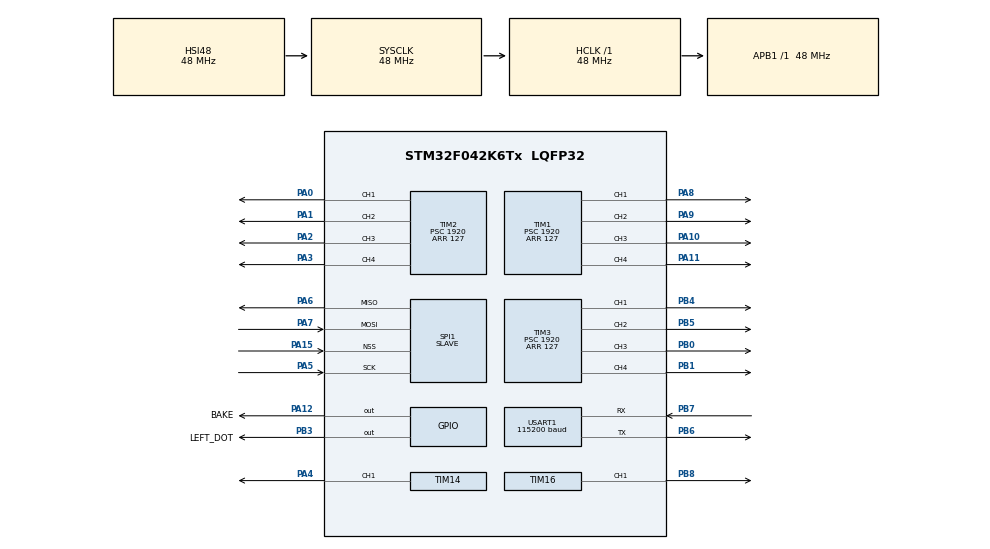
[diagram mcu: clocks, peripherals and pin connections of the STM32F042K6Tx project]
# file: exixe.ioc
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Dma.Request0=SPI1_RX
Dma.SPI1_RX.0.Direction=DMA_PERIPH_TO_MEMORY
Dma.SPI1_RX.0.Instance=DMA1_Channel2
Dma.SPI1_RX.0.MemDataAlignment=DMA_MDATAALIGN_BYTE
Dma.SPI1_RX.0.MemInc=DMA_MINC_ENABLE
Dma.SPI1_RX.0.Mode=DMA_NORMAL
Dma.SPI1_RX.0.PeriphDataAlignment=DMA_PDATAALIGN_BYTE
Dma.SPI1_RX.0.PeriphInc=DMA_PINC_DISABLE
Dma.SPI1_RX.0.Priority=DMA_PRIORITY_HIGH
IWDG.Prescaler=IWDG_PRESCALER_4
Mcu.Family=STM32F0
Mcu.Name=STM32F042K6Tx
Mcu.Package=LQFP32
NVIC.DMA1_Channel2_3_IRQn=true\:0\:0\:false\:false\:true
PA0.Signal=S_TIM2_CH1_ETR
PA1.Signal=S_TIM2_CH2
PA10.Signal=S_TIM1_CH3
PA11.Signal=S_TIM1_CH4
PA12.GPIO_Label=BAKE
PA12.Signal=GPIO_Output
PA13.Mode=Serial_Wire
PA13.Signal=SYS_SWDIO
PA14.Mode=Serial_Wire
PA14.Signal=SYS_SWCLK
PA15.Mode=NSS_Signal_Hard_Input
PA15.Signal=SPI1_NSS
PA2.Signal=S_TIM2_CH3
PA3.Signal=S_TIM2_CH4
PA4.Signal=S_TIM14_CH1
PA5.Mode=Full_Duplex_Slave
PA5.Signal=SPI1_SCK
PA6.Mode=Full_Duplex_Slave
PA6.Signal=SPI1_MISO
PA7.Mode=Full_Duplex_Slave
PA7.Signal=SPI1_MOSI
PA8.Signal=S_TIM1_CH1
PA9.Signal=S_TIM1_CH2
PB0.Signal=S_TIM3_CH3
PB1.Signal=S_TIM3_CH4
PB3.GPIO_Label=LEFT_DOT
PB3.Signal=GPIO_Output
PB4.Signal=S_TIM3_CH1
PB5.Signal=S_TIM3_CH2
PB6.Mode=Asynchronous
PB6.Signal=USART1_TX
PB7.Mode=Asynchronous
PB7.Signal=USART1_RX
PB8.Signal=S_TIM16_CH1
ProjectManager.HeapSize=0x200
ProjectManager.StackSize=0x400
ProjectManager.TargetToolchain=MDK-ARM V5
RCC.AHBFreq_Value=48000000
RCC.APB1Freq_Value=48000000
RCC.APB1TimFreq_Value=48000000
RCC.HCLKFreq_Value=48000000
RCC.I2c1ClockSelection=RCC_I2C1CLKSOURCE_SYSCLK
RCC.SYSCLKFreq_VALUE=48000000
RCC.SYSCLKSource=RCC_SYSCLKSOURCE_HSI48
RCC.Usart1ClockSelection=RCC_USART1CLKSOURCE_SYSCLK
SH.S_TIM14_CH1.0=TIM14_CH1,PWM Generation1 CH1
SH.S_TIM16_CH1.0=TIM16_CH1,PWM Generation1 CH1
SH.S_TIM1_CH1.0=TIM1_CH1,PWM Generation1 CH1
SH.S_TIM1_CH2.0=TIM1_CH2,PWM Generation2 CH2
SH.S_TIM1_CH3.0=TIM1_CH3,PWM Generation3 CH3
SH.S_TIM1_CH4.0=TIM1_CH4,PWM Generation4 CH4
SH.S_TIM2_CH1_ETR.0=TIM2_CH1,PWM Generation1 CH1
SH.S_TIM2_CH2.0=TIM2_CH2,PWM Generation2 CH2
SH.S_TIM2_CH3.0=TIM2_CH3,PWM Generation3 CH3
SH.S_TIM2_CH4.0=TIM2_CH4,PWM Generation4 CH4
SH.S_TIM3_CH1.0=TIM3_CH1,PWM Generation1 CH1
SH.S_TIM3_CH2.0=TIM3_CH2,PWM Generation2 CH2
SH.S_TIM3_CH3.0=TIM3_CH3,PWM Generation3 CH3
SH.S_TIM3_CH4.0=TIM3_CH4,PWM Generation4 CH4
SPI1.DataSize=SPI_DATASIZE_8BIT
SPI1.Direction=SPI_DIRECTION_2LINES
SPI1.Mode=SPI_MODE_SLAVE
SPI1.VirtualNSS=VM_NSSHARD
SPI1.VirtualType=VM_SLAVE
TIM1.Channel-PWM\ Generation1\ CH1=TIM_CHANNEL_1
TIM1.Channel-PWM\ Generation2\ CH2=TIM_CHANNEL_2
TIM1.Channel-PWM\ Generation3\ CH3=TIM_CHANNEL_3
TIM1.Channel-PWM\ Generation4\ CH4=TIM_CHANNEL_4
TIM1.Period=127
TIM1.Prescaler=1920
TIM1.Pulse-PWM\ Generation1\ CH1=0
TIM1.Pulse-PWM\ Generation2\ CH2=0
TIM1.Pulse-PWM\ Generation3\ CH3=0
TIM1.Pulse-PWM\ Generation4\ CH4=0
TIM14.Channel=TIM_CHANNEL_1
TIM14.Period=127
TIM14.Prescaler=1920
TIM14.Pulse=127
TIM16.Channel=TIM_CHANNEL_1
TIM16.Period=127
TIM16.Prescaler=1920
TIM16.Pulse=0
TIM17.Period=65535
TIM17.Prescaler=1920
TIM2.Channel-PWM\ Generation1\ CH1=TIM_CHANNEL_1
TIM2.Channel-PWM\ Generation2\ CH2=TIM_CHANNEL_2
TIM2.Channel-PWM\ Generation3\ CH3=TIM_CHANNEL_3
TIM2.Channel-PWM\ Generation4\ CH4=TIM_CHANNEL_4
TIM2.Period=127
TIM2.Prescaler=1920
TIM2.Pulse-PWM\ Generation1\ CH1=0
TIM2.Pulse-PWM\ Generation2\ CH2=0
TIM2.Pulse-PWM\ Generation3\ CH3=0
TIM2.Pulse-PWM\ Generation4\ CH4=0
TIM3.Channel-PWM\ Generation1\ CH1=TIM_CHANNEL_1
TIM3.Channel-PWM\ Generation2\ CH2=TIM_CHANNEL_2
TIM3.Channel-PWM\ Generation3\ CH3=TIM_CHANNEL_3
TIM3.Channel-PWM\ Generation4\ CH4=TIM_CHANNEL_4
TIM3.Period=127
TIM3.Prescaler=1920
TIM3.Pulse-PWM\ Generation1\ CH1=0
TIM3.Pulse-PWM\ Generation2\ CH2=0
TIM3.Pulse-PWM\ Generation3\ CH3=127
TIM3.Pulse-PWM\ Generation4\ CH4=127
USART1.BaudRate=115200
USART1.VirtualMode-Asynchronous=VM_ASYNC
USART1.WordLength=WORDLENGTH_8B
VP_IWDG_VS_IWDG.Mode=IWDG_Activate
VP_TIM14_VS_ClockSourceINT.Mode=Enable_Timer
VP_TIM16_VS_ClockSourceINT.Mode=Enable_Timer
VP_TIM17_VS_ClockSourceINT.Mode=Enable_Timer
VP_TIM1_VS_ClockSourceINT.Mode=Internal
VP_TIM2_VS_ClockSourceINT.Mode=Internal
VP_TIM3_VS_ClockSourceINT.Mode=Internal
board=exixe

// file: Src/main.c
/**
  ******************************************************************************
  * File Name          : main.c
  * Description        : Main program body
  ******************************************************************************
  *
  * COPYRIGHT(c) 2017 STMicroelectronics
  *
  * Redistribution and use in source and binary forms, with or without modification,
  * are permitted provided that the following conditions are met:
  *   1. Redistributions of source code must retain the above copyright notice,
  *      this list of conditions and the following disclaimer.
  *   2. Redistributions in binary form must reproduce the above copyright notice,
  *      this list of conditions and the following disclaimer in the documentation
  *      and/or other materials provided with the distribution.
  *   3. Neither the name of STMicroelectronics nor the names of its contributors
  *      may be used to endorse or promote products derived from this software
  *      without specific prior written permission.
  *
  * THIS SOFTWARE IS PROVIDED BY THE COPYRIGHT HOLDERS AND CONTRIBUTORS "AS IS"
  * AND ANY EXPRESS OR IMPLIED WARRANTIES, INCLUDING, BUT NOT LIMITED TO, THE
  * IMPLIED WARRANTIES OF MERCHANTABILITY AND FITNESS FOR A PARTICULAR PURPOSE ARE
  * DISCLAIMED. IN NO EVENT SHALL THE COPYRIGHT HOLDER OR CONTRIBUTORS BE LIABLE
  * FOR ANY DIRECT, INDIRECT, INCIDENTAL, SPECIAL, EXEMPLARY, OR CONSEQUENTIAL
  * DAMAGES (INCLUDING, BUT NOT LIMITED TO, PROCUREMENT OF SUBSTITUTE GOODS OR
  * SERVICES; LOSS OF USE, DATA, OR PROFITS; OR BUSINESS INTERRUPTION) HOWEVER
  * CAUSED AND ON ANY THEORY OF LIABILITY, WHETHER IN CONTRACT, STRICT LIABILITY,
  * OR TORT (INCLUDING NEGLIGENCE OR OTHERWISE) ARISING IN ANY WAY OUT OF THE USE
  * OF THIS SOFTWARE, EVEN IF ADVISED OF THE POSSIBILITY OF SUCH DAMAGE.
  *
  ******************************************************************************
  */
#include "main.h"
#include "stm32f0xx_hal.h"

/* USER CODE BEGIN Includes */
#include "shared.h"
#include "helpers.h"
#include "delay_us.h"

/* USER CODE END Includes */

IWDG_HandleTypeDef hiwdg;

SPI_HandleTypeDef hspi1;
DMA_HandleTypeDef hdma_spi1_rx;

TIM_HandleTypeDef htim1;
TIM_HandleTypeDef htim2;
TIM_HandleTypeDef htim3;
TIM_HandleTypeDef htim14;
TIM_HandleTypeDef htim16;
TIM_HandleTypeDef htim17;

UART_HandleTypeDef huart1;

/* USER CODE BEGIN PV */
/* Private variables ---------------------------------------------------------*/

/* USER CODE END PV */

void SystemClock_Config(void);
void Error_Handler(void);
static void MX_GPIO_Init(void);
static void MX_DMA_Init(void);
static void MX_USART1_UART_Init(void);
static void MX_SPI1_Init(void);
static void MX_TIM14_Init(void);
static void MX_TIM3_Init(void);
static void MX_TIM16_Init(void);
static void MX_TIM1_Init(void);
static void MX_TIM2_Init(void);
static void MX_TIM17_Init(void);
static void MX_IWDG_Init(void);

void HAL_TIM_MspPostInit(TIM_HandleTypeDef *htim);

/* USER CODE BEGIN PFP */
/* Private function prototypes -----------------------------------------------*/
/* USER CODE END PFP */

/* USER CODE BEGIN 0 */
int fputc(int ch, FILE *f)
{
    HAL_UART_Transmit(&huart1, (unsigned char *)&ch, 1, 100);
    return ch;
}

void kick_dog(void)
{
  static int32_t next_kick = 0;
  if(HAL_GetTick() > next_kick)
  {
    HAL_IWDG_Refresh(&hiwdg);
    next_kick = HAL_GetTick() + 100;
  }
}
/* USER CODE END 0 */

int main(void)
{

  /* MCU Configuration----------------------------------------------------------*/

  /* Reset of all peripherals, Initializes the Flash interface and the Systick. */
  HAL_Init();

  /* Configure the system clock */
  SystemClock_Config();

  /* Initialize all configured peripherals */
  MX_GPIO_Init();
  MX_DMA_Init();
  MX_USART1_UART_Init();
  MX_SPI1_Init();
  MX_TIM14_Init();
  MX_TIM3_Init();
  MX_TIM16_Init();
  MX_TIM1_Init();
  MX_TIM2_Init();
  MX_TIM17_Init();
  MX_IWDG_Init();

  /* Infinite loop */
  /* USER CODE BEGIN WHILE */
  delay_us_init(&htim17);
  timer_init();
  HAL_GPIO_WritePin(BAKE_GPIO_Port, BAKE_Pin, GPIO_PIN_SET);
  while (1)
  {
    kick_dog();
    if(HAL_GPIO_ReadPin(GPIOA, GPIO_PIN_15) == GPIO_PIN_SET)
      HAL_SPI_Receive_DMA(&hspi1, spi_recv_buf, SPI_BUF_SIZE);
  /* USER CODE END WHILE */

  /* USER CODE BEGIN 3 */
    if(pwm_stats[11] == 0)
    {
      HAL_GPIO_WritePin(LEFT_DOT_GPIO_Port, LEFT_DOT_Pin, GPIO_PIN_RESET);
      continue;
    }
    else if(pwm_stats[11] >= 125)
    {
      HAL_GPIO_WritePin(LEFT_DOT_GPIO_Port, LEFT_DOT_Pin, GPIO_PIN_SET);
      continue;
    }
    else
    {
      HAL_GPIO_WritePin(LEFT_DOT_GPIO_Port, LEFT_DOT_Pin, GPIO_PIN_SET);
      delay_us(pwm_stats[11]); // delay_us here is actually delay_40us
      HAL_GPIO_WritePin(LEFT_DOT_GPIO_Port, LEFT_DOT_Pin, GPIO_PIN_RESET);
      delay_us(125 - pwm_stats[11]);
    }
  }
  /* USER CODE END 3 */

}

/** System Clock Configuration
*/
void SystemClock_Config(void)
{

  RCC_OscInitTypeDef RCC_OscInitStruct;
  RCC_ClkInitTypeDef RCC_ClkInitStruct;
  RCC_PeriphCLKInitTypeDef PeriphClkInit;

    /**Initializes the CPU, AHB and APB busses clocks
    */
  RCC_OscInitStruct.OscillatorType = RCC_OSCILLATORTYPE_HSI48|RCC_OSCILLATORTYPE_LSI;
  RCC_OscInitStruct.HSI48State = RCC_HSI48_ON;
  RCC_OscInitStruct.LSIState = RCC_LSI_ON;
  RCC_OscInitStruct.PLL.PLLState = RCC_PLL_NONE;
  if (HAL_RCC_OscConfig(&RCC_OscInitStruct) != HAL_OK)
  {
    Error_Handler();
  }

    /**Initializes the CPU, AHB and APB busses clocks
    */
  RCC_ClkInitStruct.ClockType = RCC_CLOCKTYPE_HCLK|RCC_CLOCKTYPE_SYSCLK
                              |RCC_CLOCKTYPE_PCLK1;
  RCC_ClkInitStruct.SYSCLKSource = RCC_SYSCLKSOURCE_HSI48;
  RCC_ClkInitStruct.AHBCLKDivider = RCC_SYSCLK_DIV1;
  RCC_ClkInitStruct.APB1CLKDivider = RCC_HCLK_DIV1;

  if (HAL_RCC_ClockConfig(&RCC_ClkInitStruct, FLASH_LATENCY_1) != HAL_OK)
  {
    Error_Handler();
  }

  PeriphClkInit.PeriphClockSelection = RCC_PERIPHCLK_USART1;
  PeriphClkInit.Usart1ClockSelection = RCC_USART1CLKSOURCE_SYSCLK;
  if (HAL_RCCEx_PeriphCLKConfig(&PeriphClkInit) != HAL_OK)
  {
    Error_Handler();
  }

    /**Configure the Systick interrupt time
    */
  HAL_SYSTICK_Config(HAL_RCC_GetHCLKFreq()/1000);

    /**Configure the Systick
    */
  HAL_SYSTICK_CLKSourceConfig(SYSTICK_CLKSOURCE_HCLK);

  /* SysTick_IRQn interrupt configuration */
  HAL_NVIC_SetPriority(SysTick_IRQn, 0, 0);
}

/* IWDG init function */
static void MX_IWDG_Init(void)
{

  hiwdg.Instance = IWDG;
  hiwdg.Init.Prescaler = IWDG_PRESCALER_4;
  hiwdg.Init.Window = 4095;
  hiwdg.Init.Reload = 4095;
  if (HAL_IWDG_Init(&hiwdg) != HAL_OK)
  {
    Error_Handler();
  }

}

/* SPI1 init function */
static void MX_SPI1_Init(void)
{

  hspi1.Instance = SPI1;
  hspi1.Init.Mode = SPI_MODE_SLAVE;
  hspi1.Init.Direction = SPI_DIRECTION_2LINES;
  hspi1.Init.DataSize = SPI_DATASIZE_8BIT;
  hspi1.Init.CLKPolarity = SPI_POLARITY_LOW;
  hspi1.Init.CLKPhase = SPI_PHASE_1EDGE;
  hspi1.Init.NSS = SPI_NSS_HARD_INPUT;
  hspi1.Init.FirstBit = SPI_FIRSTBIT_MSB;
  hspi1.Init.TIMode = SPI_TIMODE_DISABLE;
  hspi1.Init.CRCCalculation = SPI_CRCCALCULATION_DISABLE;
  hspi1.Init.CRCPolynomial = 7;
  hspi1.Init.CRCLength = SPI_CRC_LENGTH_DATASIZE;
  hspi1.Init.NSSPMode = SPI_NSS_PULSE_DISABLE;
  if (HAL_SPI_Init(&hspi1) != HAL_OK)
  {
    Error_Handler();
  }

}

/* TIM1 init function */
static void MX_TIM1_Init(void)
{

  TIM_ClockConfigTypeDef sClockSourceConfig;
  TIM_MasterConfigTypeDef sMasterConfig;
  TIM_OC_InitTypeDef sConfigOC;
  TIM_BreakDeadTimeConfigTypeDef sBreakDeadTimeConfig;

  htim1.Instance = TIM1;
  htim1.Init.Prescaler = 1920;
  htim1.Init.CounterMode = TIM_COUNTERMODE_UP;
  htim1.Init.Period = 127;
  htim1.Init.ClockDivision = TIM_CLOCKDIVISION_DIV1;
  htim1.Init.RepetitionCounter = 0;
  htim1.Init.AutoReloadPreload = TIM_AUTORELOAD_PRELOAD_DISABLE;
  if (HAL_TIM_Base_Init(&htim1) != HAL_OK)
  {
    Error_Handler();
  }

  sClockSourceConfig.ClockSource = TIM_CLOCKSOURCE_INTERNAL;
  if (HAL_TIM_ConfigClockSource(&htim1, &sClockSourceConfig) != HAL_OK)
  {
    Error_Handler();
  }

  if (HAL_TIM_PWM_Init(&htim1) != HAL_OK)
  {
    Error_Handler();
  }

  sMasterConfig.MasterOutputTrigger = TIM_TRGO_RESET;
  sMasterConfig.MasterSlaveMode = TIM_MASTERSLAVEMODE_DISABLE;
  if (HAL_TIMEx_MasterConfigSynchronization(&htim1, &sMasterConfig) != HAL_OK)
  {
    Error_Handler();
  }

  sConfigOC.OCMode = TIM_OCMODE_PWM1;
  sConfigOC.Pulse = 0;
  sConfigOC.OCPolarity = TIM_OCPOLARITY_HIGH;
  sConfigOC.OCNPolarity = TIM_OCNPOLARITY_HIGH;
  sConfigOC.OCFastMode = TIM_OCFAST_DISABLE;
  sConfigOC.OCIdleState = TIM_OCIDLESTATE_RESET;
  sConfigOC.OCNIdleState = TIM_OCNIDLESTATE_RESET;
  if (HAL_TIM_PWM_ConfigChannel(&htim1, &sConfigOC, TIM_CHANNEL_1) != HAL_OK)
  {
    Error_Handler();
  }

  if (HAL_TIM_PWM_ConfigChannel(&htim1, &sConfigOC, TIM_CHANNEL_2) != HAL_OK)
  {
    Error_Handler();
  }

  if (HAL_TIM_PWM_ConfigChannel(&htim1, &sConfigOC, TIM_CHANNEL_3) != HAL_OK)
  {
    Error_Handler();
  }

  if (HAL_TIM_PWM_ConfigChannel(&htim1, &sConfigOC, TIM_CHANNEL_4) != HAL_OK)
  {
    Error_Handler();
  }

  sBreakDeadTimeConfig.OffStateRunMode = TIM_OSSR_DISABLE;
  sBreakDeadTimeConfig.OffStateIDLEMode = TIM_OSSI_DISABLE;
  sBreakDeadTimeConfig.LockLevel = TIM_LOCKLEVEL_OFF;
  sBreakDeadTimeConfig.DeadTime = 0;
  sBreakDeadTimeConfig.BreakState = TIM_BREAK_DISABLE;
  sBreakDeadTimeConfig.BreakPolarity = TIM_BREAKPOLARITY_HIGH;
  sBreakDeadTimeConfig.AutomaticOutput = TIM_AUTOMATICOUTPUT_DISABLE;
  if (HAL_TIMEx_ConfigBreakDeadTime(&htim1, &sBreakDeadTimeConfig) != HAL_OK)
  {
    Error_Handler();
  }

  HAL_TIM_MspPostInit(&htim1);

}

/* TIM2 init function */
static void MX_TIM2_Init(void)
{

  TIM_ClockConfigTypeDef sClockSourceConfig;
  TIM_MasterConfigTypeDef sMasterConfig;
  TIM_OC_InitTypeDef sConfigOC;

  htim2.Instance = TIM2;
  htim2.Init.Prescaler = 1920;
  htim2.Init.CounterMode = TIM_COUNTERMODE_UP;
  htim2.Init.Period = 127;
  htim2.Init.ClockDivision = TIM_CLOCKDIVISION_DIV1;
  htim2.Init.AutoReloadPreload = TIM_AUTORELOAD_PRELOAD_DISABLE;
  if (HAL_TIM_Base_Init(&htim2) != HAL_OK)
  {
    Error_Handler();
  }

  sClockSourceConfig.ClockSource = TIM_CLOCKSOURCE_INTERNAL;
  if (HAL_TIM_ConfigClockSource(&htim2, &sClockSourceConfig) != HAL_OK)
  {
    Error_Handler();
  }

  if (HAL_TIM_PWM_Init(&htim2) != HAL_OK)
  {
    Error_Handler();
  }

  sMasterConfig.MasterOutputTrigger = TIM_TRGO_RESET;
  sMasterConfig.MasterSlaveMode = TIM_MASTERSLAVEMODE_DISABLE;
  if (HAL_TIMEx_MasterConfigSynchronization(&htim2, &sMasterConfig) != HAL_OK)
  {
    Error_Handler();
  }

  sConfigOC.OCMode = TIM_OCMODE_PWM1;
  sConfigOC.Pulse = 0;
  sConfigOC.OCPolarity = TIM_OCPOLARITY_HIGH;
  sConfigOC.OCFastMode = TIM_OCFAST_DISABLE;
  if (HAL_TIM_PWM_ConfigChannel(&htim2, &sConfigOC, TIM_CHANNEL_1) != HAL_OK)
  {
    Error_Handler();
  }

  if (HAL_TIM_PWM_ConfigChannel(&htim2, &sConfigOC, TIM_CHANNEL_2) != HAL_OK)
  {
    Error_Handler();
  }

  if (HAL_TIM_PWM_ConfigChannel(&htim2, &sConfigOC, TIM_CHANNEL_3) != HAL_OK)
  {
    Error_Handler();
  }

  if (HAL_TIM_PWM_ConfigChannel(&htim2, &sConfigOC, TIM_CHANNEL_4) != HAL_OK)
  {
    Error_Handler();
  }

  HAL_TIM_MspPostInit(&htim2);

}

/* TIM3 init function */
static void MX_TIM3_Init(void)
{

  TIM_ClockConfigTypeDef sClockSourceConfig;
  TIM_MasterConfigTypeDef sMasterConfig;
  TIM_OC_InitTypeDef sConfigOC;

  htim3.Instance = TIM3;
  htim3.Init.Prescaler = 1920;
  htim3.Init.CounterMode = TIM_COUNTERMODE_UP;
  htim3.Init.Period = 127;
  htim3.Init.ClockDivision = TIM_CLOCKDIVISION_DIV1;
  htim3.Init.AutoReloadPreload = TIM_AUTORELOAD_PRELOAD_DISABLE;
  if (HAL_TIM_Base_Init(&htim3) != HAL_OK)
  {
    Error_Handler();
  }

  sClockSourceConfig.ClockSource = TIM_CLOCKSOURCE_INTERNAL;
  if (HAL_TIM_ConfigClockSource(&htim3, &sClockSourceConfig) != HAL_OK)
  {
    Error_Handler();
  }

  if (HAL_TIM_PWM_Init(&htim3) != HAL_OK)
  {
    Error_Handler();
  }

  sMasterConfig.MasterOutputTrigger = TIM_TRGO_RESET;
  sMasterConfig.MasterSlaveMode = TIM_MASTERSLAVEMODE_DISABLE;
  if (HAL_TIMEx_MasterConfigSynchronization(&htim3, &sMasterConfig) != HAL_OK)
  {
    Error_Handler();
  }

  sConfigOC.OCMode = TIM_OCMODE_PWM1;
  sConfigOC.Pulse = 0;
  sConfigOC.OCPolarity = TIM_OCPOLARITY_HIGH;
  sConfigOC.OCFastMode = TIM_OCFAST_DISABLE;
  if (HAL_TIM_PWM_ConfigChannel(&htim3, &sConfigOC, TIM_CHANNEL_1) != HAL_OK)
  {
    Error_Handler();
  }

  if (HAL_TIM_PWM_ConfigChannel(&htim3, &sConfigOC, TIM_CHANNEL_2) != HAL_OK)
  {
    Error_Handler();
  }

  sConfigOC.Pulse = 127;
  if (HAL_TIM_PWM_ConfigChannel(&htim3, &sConfigOC, TIM_CHANNEL_3) != HAL_OK)
  {
    Error_Handler();
  }

  if (HAL_TIM_PWM_ConfigChannel(&htim3, &sConfigOC, TIM_CHANNEL_4) != HAL_OK)
  {
    Error_Handler();
  }

  HAL_TIM_MspPostInit(&htim3);

}

/* TIM14 init function */
static void MX_TIM14_Init(void)
{

  TIM_OC_InitTypeDef sConfigOC;

  htim14.Instance = TIM14;
  htim14.Init.Prescaler = 1920;
  htim14.Init.CounterMode = TIM_COUNTERMODE_UP;
  htim14.Init.Period = 127;
  htim14.Init.ClockDivision = TIM_CLOCKDIVISION_DIV1;
  htim14.Init.AutoReloadPreload = TIM_AUTORELOAD_PRELOAD_DISABLE;
  if (HAL_TIM_Base_Init(&htim14) != HAL_OK)
  {
    Error_Handler();
  }

  if (HAL_TIM_PWM_Init(&htim14) != HAL_OK)
  {
    Error_Handler();
  }

  sConfigOC.OCMode = TIM_OCMODE_PWM1;
  sConfigOC.Pulse = 127;
  sConfigOC.OCPolarity = TIM_OCPOLARITY_HIGH;
  sConfigOC.OCFastMode = TIM_OCFAST_DISABLE;
  if (HAL_TIM_PWM_ConfigChannel(&htim14, &sConfigOC, TIM_CHANNEL_1) != HAL_OK)
  {
    Error_Handler();
  }

  HAL_TIM_MspPostInit(&htim14);

}

/* TIM16 init function */
static void MX_TIM16_Init(void)
{

  TIM_OC_InitTypeDef sConfigOC;
  TIM_BreakDeadTimeConfigTypeDef sBreakDeadTimeConfig;

  htim16.Instance = TIM16;
  htim16.Init.Prescaler = 1920;
  htim16.Init.CounterMode = TIM_COUNTERMODE_UP;
  htim16.Init.Period = 127;
  htim16.Init.ClockDivision = TIM_CLOCKDIVISION_DIV1;
  htim16.Init.RepetitionCounter = 0;
  htim16.Init.AutoReloadPreload = TIM_AUTORELOAD_PRELOAD_DISABLE;
  if (HAL_TIM_Base_Init(&htim16) != HAL_OK)
  {
    Error_Handler();
  }

  if (HAL_TIM_PWM_Init(&htim16) != HAL_OK)
  {
    Error_Handler();
  }

  sConfigOC.OCMode = TIM_OCMODE_PWM1;
  sConfigOC.Pulse = 0;
  sConfigOC.OCPolarity = TIM_OCPOLARITY_HIGH;
  sConfigOC.OCNPolarity = TIM_OCNPOLARITY_HIGH;
  sConfigOC.OCFastMode = TIM_OCFAST_DISABLE;
  sConfigOC.OCIdleState = TIM_OCIDLESTATE_RESET;
  sConfigOC.OCNIdleState = TIM_OCNIDLESTATE_RESET;
  if (HAL_TIM_PWM_ConfigChannel(&htim16, &sConfigOC, TIM_CHANNEL_1) != HAL_OK)
  {
    Error_Handler();
  }

  sBreakDeadTimeConfig.OffStateRunMode = TIM_OSSR_DISABLE;
  sBreakDeadTimeConfig.OffStateIDLEMode = TIM_OSSI_DISABLE;
  sBreakDeadTimeConfig.LockLevel = TIM_LOCKLEVEL_OFF;
  sBreakDeadTimeConfig.DeadTime = 0;
  sBreakDeadTimeConfig.BreakState = TIM_BREAK_DISABLE;
  sBreakDeadTimeConfig.BreakPolarity = TIM_BREAKPOLARITY_HIGH;
  sBreakDeadTimeConfig.AutomaticOutput = TIM_AUTOMATICOUTPUT_DISABLE;
  if (HAL_TIMEx_ConfigBreakDeadTime(&htim16, &sBreakDeadTimeConfig) != HAL_OK)
  {
    Error_Handler();
  }

  HAL_TIM_MspPostInit(&htim16);

}

/* TIM17 init function */
static void MX_TIM17_Init(void)
{

  htim17.Instance = TIM17;
  htim17.Init.Prescaler = 1920;
  htim17.Init.CounterMode = TIM_COUNTERMODE_UP;
  htim17.Init.Period = 65535;
  htim17.Init.ClockDivision = TIM_CLOCKDIVISION_DIV1;
  htim17.Init.RepetitionCounter = 0;
  htim17.Init.AutoReloadPreload = TIM_AUTORELOAD_PRELOAD_DISABLE;
  if (HAL_TIM_Base_Init(&htim17) != HAL_OK)
  {
    Error_Handler();
  }

}

/* USART1 init function */
static void MX_USART1_UART_Init(void)
{

  huart1.Instance = USART1;
  huart1.Init.BaudRate = 115200;
  huart1.Init.WordLength = UART_WORDLENGTH_8B;
  huart1.Init.StopBits = UART_STOPBITS_1;
  huart1.Init.Parity = UART_PARITY_NONE;
  huart1.Init.Mode = UART_MODE_TX_RX;
  huart1.Init.HwFlowCtl = UART_HWCONTROL_NONE;
  huart1.Init.OverSampling = UART_OVERSAMPLING_16;
  huart1.Init.OneBitSampling = UART_ONE_BIT_SAMPLE_DISABLE;
  huart1.AdvancedInit.AdvFeatureInit = UART_ADVFEATURE_NO_INIT;
  if (HAL_UART_Init(&huart1) != HAL_OK)
  {
    Error_Handler();
  }

}

static void MX_DMA_Init(void)
{
  /* DMA controller clock enable */
  __HAL_RCC_DMA1_CLK_ENABLE();

  /* DMA interrupt init */
  /* DMA1_Channel2_3_IRQn interrupt configuration */
  HAL_NVIC_SetPriority(DMA1_Channel2_3_IRQn, 0, 0);
  HAL_NVIC_EnableIRQ(DMA1_Channel2_3_IRQn);

}

/** Configure pins as
        * Analog
        * Input
        * Output
        * EVENT_OUT
        * EXTI
*/
static void MX_GPIO_Init(void)
{

  GPIO_InitTypeDef GPIO_InitStruct;

  /* GPIO Ports Clock Enable */
  __HAL_RCC_GPIOA_CLK_ENABLE();
  __HAL_RCC_GPIOB_CLK_ENABLE();

  /*Configure GPIO pin Output Level */
  HAL_GPIO_WritePin(BAKE_GPIO_Port, BAKE_Pin, GPIO_PIN_RESET);

  /*Configure GPIO pin Output Level */
  HAL_GPIO_WritePin(LEFT_DOT_GPIO_Port, LEFT_DOT_Pin, GPIO_PIN_RESET);

  /*Configure GPIO pin : BAKE_Pin */
  GPIO_InitStruct.Pin = BAKE_Pin;
  GPIO_InitStruct.Mode = GPIO_MODE_OUTPUT_PP;
  GPIO_InitStruct.Pull = GPIO_NOPULL;
  GPIO_InitStruct.Speed = GPIO_SPEED_FREQ_LOW;
  HAL_GPIO_Init(BAKE_GPIO_Port, &GPIO_InitStruct);

  /*Configure GPIO pin : LEFT_DOT_Pin */
  GPIO_InitStruct.Pin = LEFT_DOT_Pin;
  GPIO_InitStruct.Mode = GPIO_MODE_OUTPUT_PP;
  GPIO_InitStruct.Pull = GPIO_NOPULL;
  GPIO_InitStruct.Speed = GPIO_SPEED_FREQ_LOW;
  HAL_GPIO_Init(LEFT_DOT_GPIO_Port, &GPIO_InitStruct);

}

/* USER CODE BEGIN 4 */
void HAL_SPI_RxCpltCallback(SPI_HandleTypeDef *hspi)
{
  if(spi_recv_buf[0] != INCOMING_SPI_CMD_HEADER)
  {
    HAL_Delay(10);
    HAL_NVIC_SystemReset();
  }
  set_pwm(spi_recv_buf);
  HAL_SPI_Receive_DMA(&hspi1, spi_recv_buf, SPI_BUF_SIZE);
}

/* USER CODE END 4 */

void Error_Handler(void)
{
  while(1)
  {
  }
}

/************************ (C) COPYRIGHT STMicroelectronics *****END OF FILE****/
